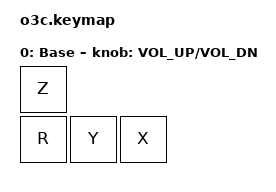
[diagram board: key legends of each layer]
#include <behaviors.dtsi>
#include <dt-bindings/zmk/keys.h>
#include <dt-bindings/zmk/bt.h>

/ {
    keymap {
        compatible = "zmk,keymap";

        default_layer { // Layer 0
            display-name = "Base";

            bindings = <
                &kp Z   
                &kp R    &kp Y    &kp X
            >;

            sensor-bindings = <&inc_dec_kp C_VOL_UP C_VOL_DN>;
        };
    };
};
